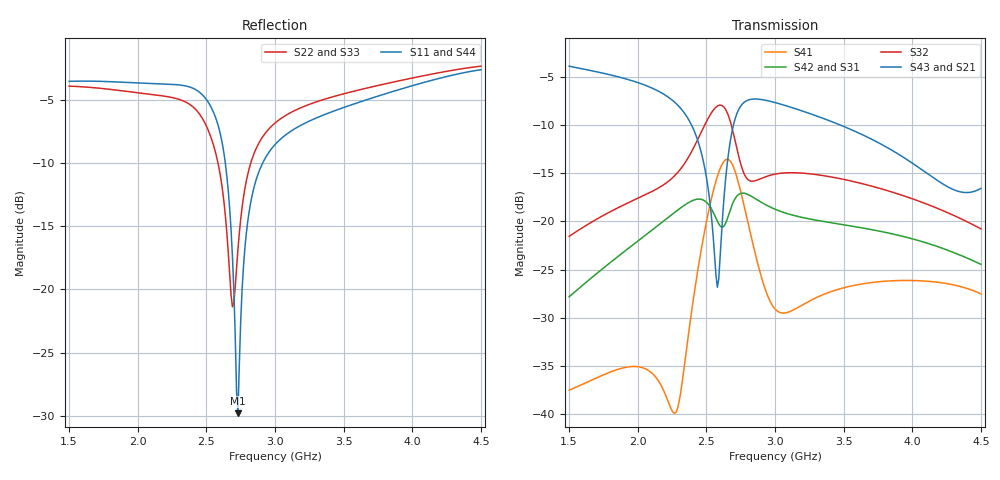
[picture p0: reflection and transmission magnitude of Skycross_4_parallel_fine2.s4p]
! Touchstone file from project Skycross_parallel_short
! Exported from HFSS 15.0.0
! Variables:
!  CPW_gap = 0.01in
!  CPW_width = 0.02in
!  Ch_impe = 53.1
!  Length = 0.7in
!  Space = 2in
!  Waveport_length = 0.2in
!  Waveport_width = 0.1in
!  dist = 1in
# GHZ S MA R 50.000000
! Modal data exported
! Port[1] = 1:1
! Port[2] = 2:1
! Port[3] = 3:1
! Port[4] = 4:1
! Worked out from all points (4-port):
!   301 points, 1.5 GHz to 4.5 GHz, reference 50 ohm
!   strongest paths, dB at 1.5 GHz, 2.25 GHz, 3 GHz, 3.75 GHz, 4.5 GHz:
!     S43: -3.9, -7.4, -7.7, -11.8, -16.6
!     S21: -3.9, -7.4, -7.7, -11.8, -16.6
!     S32: -21.5, -15.5, -15.1, -16.5, -20.8
!     S42: -27.8, -19.3, -18.7, -21.0, -24.4
!     S31: -27.9, -19.3, -18.8, -21.0, -24.5
!     S41: -37.5, -39.6, -29.1, -26.3, -27.5
!   lowest |S11| = -29.8 dB at 2.73 GHz (marker M1), VSWR 1.07, Z = 49.6 + j3.2 ohm
!   |S11| at or under -10 dB: 2.638 GHz to 2.91 GHz (272.1 MHz wide, 9.81 % of centre)
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1.5  0.6654 -12.3  0.6362 -111.9  0.04027 -1.1  0.01333 -51.8
     0.6362 -111.9  0.6367 -14.7  0.08371 20.9  0.04067 -1.3
     0.04027 -1.1  0.08371 20.9  0.6334 -14.4  0.6396 -112.0
     0.01333 -51.8  0.04067 -1.3  0.6396 -112.0  0.6608 -12.6
2.28  0.6457 -54.5  0.4076 179.7  0.1127 -102.7  0.01027 -70.3
      0.4076 179.7  0.569 -57.2  0.176 -36.8  0.113 -103.0
      0.1127 -102.7  0.176 -36.8  0.5682 -57.1  0.409 179.4
      0.01027 -70.3  0.113 -103.0  0.409 179.4  0.6429 -55.2
2.54  0.5184 -93.1  0.1023 113.9  0.1152 149.8  0.1345 -88.3
      0.1023 113.9  0.3899 -97.6  0.3692 -75.2  0.1151 149.7
      0.1152 149.8  0.3692 -75.2  0.3852 -98.1  0.1007 113.2
      0.1345 -88.3  0.1151 149.7  0.1007 113.2  0.5183 -94.1
2.58  0.456 -103.9  0.04642 47.1  0.1007 110.6  0.1714 -111.2
      0.04642 47.1  0.3248 -109.4  0.397 -90.1  0.1005 110.4
      0.1007 110.6  0.397 -90.1  0.3189 -110.1  0.04554 44.3
      0.1714 -111.2  0.1005 110.4  0.04554 44.3  0.4565 -105.0
2.73  0.03236 95.8  0.3732 -103.4  0.1366 -73.8  0.1624 147.7
      0.3732 -103.4  0.1442 62.7  0.2264 -142.0  0.1372 -74.0
      0.1366 -73.8  0.2264 -142.0  0.1504 62.1  0.3739 -103.8
      0.1624 147.7  0.1372 -74.0  0.3739 -103.8  0.03241 105.5
2.96  0.3515 -12.9  0.4204 -157.7  0.1184 -158.2  0.03909 108.8
      0.4204 -157.7  0.434 -6.6  0.1733 -132.1  0.1193 -158.2
      0.1184 -158.2  0.1733 -132.1  0.4371 -6.1  0.4211 -157.8
      0.03909 108.8  0.1193 -158.2  0.4211 -157.8  0.3446 -13.4
4.5  0.7397 -88.1  0.1487 152.9  0.05953 27.3  0.0421 -61.3
     0.1487 152.9  0.764 -91.0  0.09159 120.5  0.05995 26.9
     0.05953 27.3  0.09159 120.5  0.7639 -90.8  0.1485 152.5
     0.0421 -61.3  0.05995 26.9  0.1485 152.5  0.7381 -88.9
